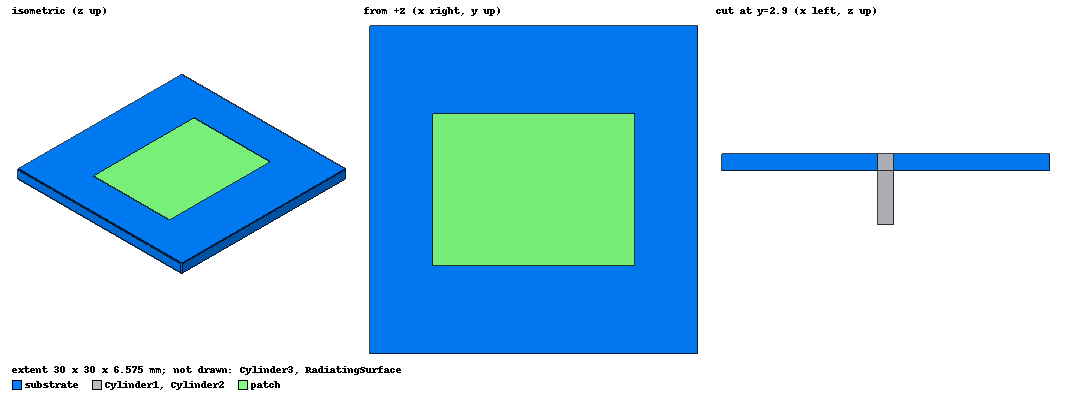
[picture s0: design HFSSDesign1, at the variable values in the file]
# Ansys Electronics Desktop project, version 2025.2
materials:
  vacuum: permittivity=1
  FR4_epoxy: permittivity=4.4 dielectric_loss_tangent=0.02
  pec: conductivity=1e+30

design HFSSDesign1 (HFSS, HFSS Modal Network, model units mm)
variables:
  ws = 30mm
  ls = 30mm
  wp = 18.42mm
  lp = 13.92mm
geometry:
  substrate [FR4_epoxy] = box(corner=(-ws/2, -ls/2, 0mm), size=(ws, ls, 1.575mm))
  patch = rectangle(corner=(-wp/2, -lp/2, 1.575mm), x_size=wp, y_size=lp)
  ground = rectangle(corner=(15mm, -15mm, 0mm), x_size=-30mm, y_size=30mm)
  circlecut = circle(normal=Z, centre=(0mm, 2.92mm, 0mm), radius=1.6mm, segments=100)
  ground.subtract(circlecut)
  Cylinder1 [pec] = cylinder(axis=Z, base_centre=(0mm, 2.9mm, 0mm), radius=0.7mm, height=-5mm, segments=100)
  Cylinder2 [pec] = cylinder(axis=Z, base_centre=(0mm, 2.9mm, 0mm), radius=0.7mm, height=1.575mm, segments=100)
  Cylinder3 [vacuum] = cylinder(axis=Z, base_centre=(0mm, 2.9mm, 0mm), radius=1.6mm, height=-5mm, segments=100)
  wayport = circle(normal=Z, centre=(0mm, 2.9mm, -5mm), radius=1.6mm, segments=100)
  RadiatingSurface [vacuum] = region(absolute_offset: +X=20mm, -X=20mm, +Y=20mm, -Y=20mm, +Z=20mm, -Z=0mm)
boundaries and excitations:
  PerfE1: Perfect E Objects=ground
  PerfE2: Perfect E Objects=patch
  Open1: Radiation Objects=RadiatingSurface
  1: Wave Port Faces=wayport.face WavePortType=Terminal NumModes=1 Modes{Mode1{CharImp=Zpi}} SpecifiedWaveDirectionFlip
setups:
  Setup1: HfssDriven Frequency=5GHz MaxDeltaS=0.02 MaximumPasses=12 MinimumPasses=1 MinimumConvergedPasses=1 PercentRefinement=30 BasisOrder=1 PortAccuracy=2 DrivenSolverType="Direct Solver"
    sweep Sweep: 2GHz to 8GHz, 401 points; Type=Interpolating InterpTolerance=0.5 InterpMaxSolns=250 InterpUsePortImped=false PassivityErrorTolerance=0.0001
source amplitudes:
  1:1: 1 0deg
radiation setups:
  3D: Infinite Sphere Theta=0deg..180deg step 2deg Phi=-180deg..180deg step 2deg
  Elevation: Infinite Sphere Theta=-180deg..180deg step 1deg Phi=0deg..90deg step 90deg
  Azimuth: Infinite Sphere Theta=90deg..90deg step 0deg Phi=-180deg..180deg step 1deg
  Infinite Sphere1: Infinite Sphere Theta=0deg..360deg step 2deg Phi=-180deg..180deg step 2deg
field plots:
  Mag_Jsurf1: Jsurf over ground.face(at (0, 0, 0)) on Setup1 : LastAdaptive at Freq=5GHz Phase=0deg
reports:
  S Parameter Plot1: dB(S(1,1)) vs Freq on Setup1 : Sweep
  VSWR Plot1: VSWR(1) vs Freq on Setup1 : Sweep
  Gain Plot1: dB(GainTotal) vs Theta on Setup1 : LastAdaptive, 3D [Phi=all Freq=5GHz]
